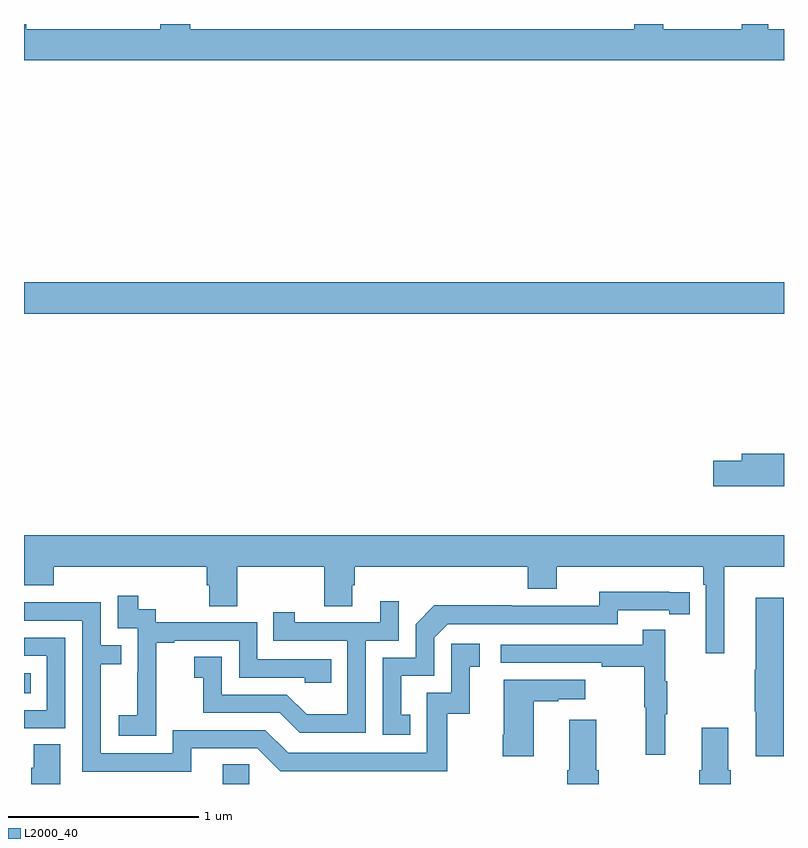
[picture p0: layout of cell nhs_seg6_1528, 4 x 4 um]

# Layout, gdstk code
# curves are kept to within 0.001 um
import gdstk
lib = gdstk.Library(unit=1e-6, precision=1e-09)
def R(c, l, rs):  # rectangles x0, y0, x1, y1
    for r in rs: c.add(gdstk.rectangle(r[:2], r[2:], *l))
def P(c, l, *ps):  # polygons
    for p in ps: c.add(gdstk.Polygon(p, *l))
L2000_40 = (2000, 40)

nhs_seg6_1528 = lib.new_cell('nhs_seg6_1528')
R(nhs_seg6_1528, L2000_40, [(204.047,971.5,204.186,971.603), (203,971.978,203.036,972.082), (203,973.976,207,974.14)])
P(nhs_seg6_1528, L2000_40, [(207,975.472),(206.917,975.472),(206.917,975.5),(206.777,975.5),(206.777,975.472),(206.365,975.472),(206.365,975.5),(206.213,975.5),(206.213,975.472),(203.876,975.472),(203.876,975.5),(203.716,975.5),(203.716,975.472),(203.011,975.472),(203.011,975.5),(203,975.5),(203,975.308),(207,975.308)],
  [(207,973.238),(206.777,973.238),(206.777,973.202),(206.628,973.202),(206.628,973.067),(207,973.067)],
  [(206.686,972.644),(207,972.644),(207,972.808),(203,972.808),(203,972.545),(203.156,972.545),(203.156,972.644),(203.963,972.644),(203.963,972.546),(203.975,972.546),(203.975,972.436),(204.123,972.436),(204.123,972.644),(204.58,972.644),(204.58,972.436),(204.727,972.436),(204.727,972.546),(204.74,972.546),(204.74,972.644),(205.652,972.644),(205.652,972.527),(205.804,972.527),(205.804,972.644),(206.576,972.644),(206.576,972.548),(206.589,972.548),(206.589,972.189),(206.686,972.189)],
  [(205.034,971.865),(204.985,971.865),(204.985,972.069),(205.158,972.069),(205.158,972.27),(205.23,972.342),(206.124,972.342),(206.124,972.414),(206.396,972.414),(206.396,972.394),(206.504,972.394),(206.504,972.51),(206.028,972.511),(206.028,972.438),(205.568,972.438),(205.568,972.44),(205.16,972.44),(205.062,972.342),(205.062,972.165),(204.888,972.165),(204.888,971.76),(205.034,971.76)],
  [(203.697,971.959),(203.696,971.959),(203.696,972.243),(203.791,972.243),(203.791,972.255),(204.132,972.255),(204.132,972.06),(204.477,972.06),(204.477,972.033),(204.617,972.033),(204.617,972.156),(204.228,972.156),(204.228,972.351),(203.694,972.351),(203.694,972.42),(203.602,972.42),(203.602,972.49),(203.493,972.49),(203.493,972.321),(203.598,972.321),(203.598,972.092),(203.597,972.092),(203.597,971.863),(203.499,971.863),(203.499,971.753),(203.697,971.753)],
  [(206.998,972.481),(206.852,972.481),(206.852,972.101),(206.845,972.101),(206.845,971.884),(206.852,971.884),(206.852,971.646),(206.998,971.646)],
  [(204.798,972.255),(204.972,972.255),(204.972,972.463),(204.875,972.463),(204.875,972.351),(204.424,972.351),(204.424,972.403),(204.313,972.403),(204.313,972.255),(204.702,972.255),(204.702,971.866),(204.488,971.866),(204.384,971.97),(204.042,971.97),(204.042,972.169),(203.895,972.169),(203.895,972.059),(203.944,972.059),(203.944,971.874),(204.347,971.874),(204.452,971.769),(204.798,971.769)],
  [(203.881,971.688),(204.228,971.688),(204.348,971.568),(205.228,971.568),(205.228,971.871),(205.346,971.871),(205.346,972.117),(205.399,972.117),(205.399,972.238),(205.248,972.238),(205.248,971.979),(205.119,971.979),(205.119,971.664),(204.39,971.664),(204.27,971.784),(203.784,971.784),(203.784,971.661),(203.403,971.661),(203.403,972.13),(203.513,972.13),(203.513,972.231),(203.403,972.231),(203.403,972.456),(203,972.456),(203,972.36),(203.307,972.36),(203.307,971.565),(203.881,971.565)],
  [(206.375,971.867),(206.386,971.867),(206.386,972.041),(206.375,972.041),(206.375,972.313),(206.257,972.313),(206.257,972.234),(205.509,972.234),(205.509,972.138),(206.041,972.138),(206.041,972.118),(206.265,972.118),(206.265,971.904),(206.272,971.904),(206.272,971.655),(206.375,971.655)],
  [(203.217,972.27),(203,972.27),(203,972.174),(203.121,972.174),(203.121,971.889),(203,971.889),(203,971.793),(203.217,971.793)],
  [(205.684,971.935),(205.811,971.935),(205.811,971.945),(205.954,971.945),(205.954,972.049),(205.526,972.049),(205.526,971.758),(205.519,971.758),(205.519,971.646),(205.684,971.646)],
  [(206.024,971.572),(206.011,971.572),(206.011,971.839),(205.871,971.839),(205.871,971.572),(205.859,971.572),(205.859,971.5),(206.024,971.5)],
  [(206.72,971.572),(206.707,971.572),(206.707,971.797),(206.567,971.797),(206.567,971.572),(206.555,971.572),(206.555,971.5),(206.72,971.5)],
  [(203.191,971.708),(203.052,971.708),(203.052,971.585),(203.039,971.585),(203.039,971.5),(203.191,971.5)])

lib.write_gds('nhs_seg6_1528.gds')
